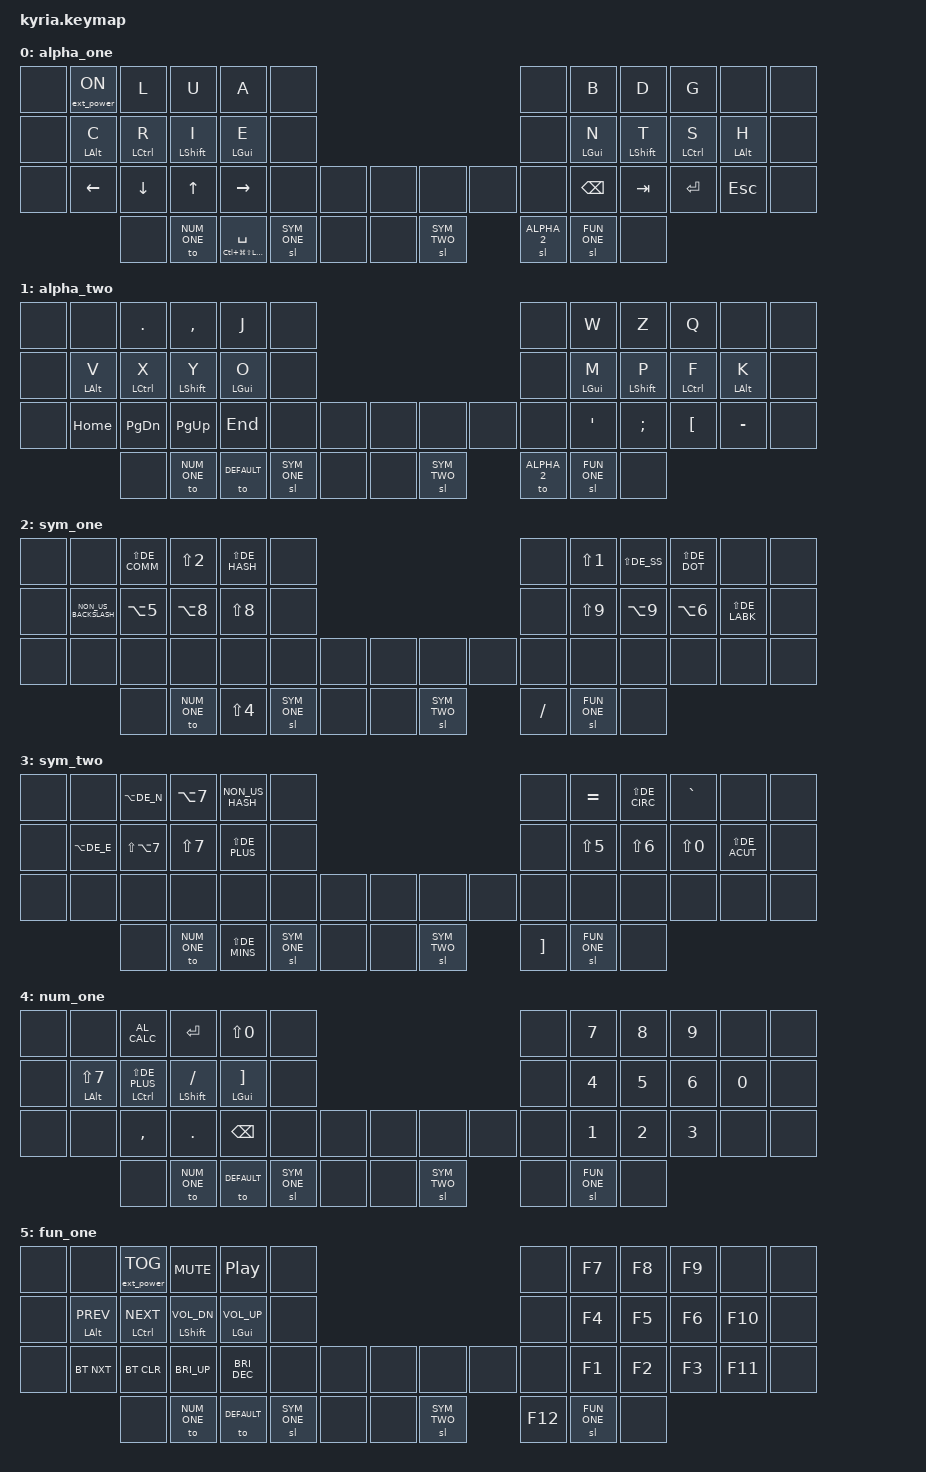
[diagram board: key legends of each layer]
/*
 * Copyright (c) 2020 The ZMK Contributors
 *
 * SPDX-License-Identifier: MIT
 */

#include <behaviors.dtsi>
#include <dt-bindings/zmk/keys.h>
#include <dt-bindings/zmk/bt.h>
#include <dt-bindings/zmk/ext_power.h>

/* GERMAN KEY CODES */
#define DE_CIRC GRAVE // ^ (dead)
#define DE_SS   MINUS // ß
#define DE_ACUT EQUAL // ´ (dead)
#define DE_Q    Q            // Q
#define DE_W    W            // W
#define DE_E    E            // E
#define DE_R    R            // R
#define DE_T    T            // T
#define DE_Z    Y            // Z
#define DE_U    U            // U
#define DE_I    I            // I
#define DE_O    O            // O
#define DE_P    P            // P
#define DE_UDIA LEFT_BRACKET // Ü
#define DE_PLUS RIGHT_BRACKET // +
#define DE_A    A            // A
#define DE_S    S            // S
#define DE_D    D            // D
#define DE_F    F            // F
#define DE_G    G            // G
#define DE_H    H            // H
#define DE_J    J            // J
#define DE_K    K            // K
#define DE_L    L            // L
#define DE_ODIA SEMICOLON    // Ö
#define DE_ADIA SINGLE_QUOTE // Ä
#define DE_HASH NON_US_HASH  // #
#define DE_LABK NON_US_BACKSLASH // <
#define DE_Y    Z                // Y
#define DE_X    X                // X
#define DE_C    C                // C
#define DE_V    V                // V
#define DE_B    B                // B
#define DE_N    N                // N
#define DE_M    M                // M
#define DE_COMM COMMA            // ,
#define DE_DOT  PERIOD           // .
#define DE_MINS SLASH            // -
#define DE_DEG  LS(DE_CIRC) // °
#define DE_EXLM LS(NUMBER_1)    // !
#define DE_DQUO LS(NUMBER_2)    // "
#define DE_SECT LS(NUMBER_3)    // §
#define DE_DLR  LS(NUMBER_4)    // $
#define DE_PERC LS(NUMBER_5)    // %
#define DE_AMPR LS(NUMBER_6)    // &
#define DE_SLSH LS(NUMBER_7)    // /
#define DE_LPRN LS(NUMBER_8)    // (
#define DE_RPRN LS(NUMBER_9)    // )
#define DE_EQL  LS(NUMBER_0)    // =
#define DE_QUES LS(DE_SS)   // ?
#define DE_GRV  LS(DE_ACUT) // ` (dead)
#define DE_ASTR LS(DE_PLUS) // *
#define DE_QUOT LS(DE_HASH) // '
#define DE_RABK LS(DE_LABK) // >
#define DE_SCLN LS(DE_COMM) // ;
#define DE_COLN LS(DE_DOT)  // :
#define DE_UNDS LS(DE_MINS) // _
#define DE_LBRC LA(NUMBER_5)    // [
#define DE_RBRC LA(NUMBER_6)    // ]
#define DE_PIPE LA(NUMBER_7)    // |
#define DE_LCBR LA(NUMBER_8)    // {
#define DE_RCBR LA(NUMBER_9)    // }
#define DE_AT LA(DE_L)    // @
#define DE_EURO LA(DE_E)    // €
#define DE_TILD LA(DE_N)    // ~
#define DE_BSLS LS(LA(NUMBER_7))    // (backslash)

#define DEFAULT 0
#define ALPHA_2 1
#define SYM_ONE 2
#define SYM_TWO 3
#define NUM_ONE 4
#define FUN_ONE 5

#define HOLD_TAP_TIME 175

/ {
    behaviors {

        mtl: mtl {
            compatible = "zmk,behavior-hold-tap";
            label = "Mod Tap Left";
            #binding-cells = <2>;
            tapping-term-ms = <HOLD_TAP_TIME>;
            quick_tap_ms = <0>;
            flavor = "tap-preferred";
            bindings = <&kp>, <&kp>;
            hold-trigger-key-positions = <6 7 8 9 10 11 18 19 20 21 22 23 33 34 35 36 37 38 39 46 47 48 49>;
        };

        mtr: mtr {
            compatible = "zmk,behavior-hold-tap";
            label = "Mod Tap Left";
            #binding-cells = <2>;
            tapping-term-ms = <HOLD_TAP_TIME>;
            quick_tap_ms = <0>;
            flavor = "tap-preferred";
            bindings = <&kp>, <&kp>;
            hold-trigger-key-positions = <0 1 2 3 4 5 12 13 14 15 16 17 24 25 26 27 28 29 30 31 32 40 41 42 43 44 45>;
        };

    };
};

#define _____ &none

#define HYPER LC(LG(LS(LALT)))

/*
            _____ _____ K1  K2    K3          _____                                     _____ K4          K5      K6  _____ _____ 
            _____ K7    K8  K9    K10         _____                                     _____ K11         K12     K13 K14   _____ 
            _____ K15   K16 K17   K18         _____ _____       _____ _____ _____       _____ K19         K20     K21 K22   _____ 
                            _____ &to NUM_ONE K1  &sl SYM_ONE SYM_ONE _____ _____ &sl SYM_TWO SYM_TWO K2   &sl FUN_ONE FUN_ONE _____


            _____ _____ K1  K2    K3  _____                                     _____ K4 K5 K6  _____ _____ 
            _____ K7    K8  K9    K10 _____                                     _____ K11 K12 K13 K14 _____ 
            _____ _____ _____ _____   _____         _____ _____       _____ _____ _____ _____ _____ _____ _____ _____ _____ 
                            _____ &to NUM_ONE &to DEFAULT  &sl SYM_ONE  _____ _____ &sl SYM_TWO  K2   &sl  FUN_ONE _____

*/
/ {

    keymap {
        compatible = "zmk,keymap";

/*
        test {
            bindings = <
            _____ &kp A &kp B &kp C &kp D _____                            _____  &kp E  &kp F &kp G &kp H _____ \
            _____ &kp I &kp J &kp K &kp L _____                            _____  &kp M  &kp N &kp O &kp P _____ \
            _____ &kp Q &kp R &kp S &kp T _____ _____   _____ _____ _____  _____  &kp U  &kp V &kp W &kp X _____ \
                              _____ &kp Y &kp Z  &kp N1 _____ _____ &kp N2 &kp N3 &kp N4 _____
            >;
        };
*/
        alpha_one {
            bindings = <
                _____ &ext_power EP_ON &kp DE_L        &kp DE_U        &kp DE_A        _____                               _____       &kp DE_B       &kp DE_D        &kp DE_G        _____         _____
                _____ &mtl LALT DE_C   &mtl LCTRL DE_R &mtl LSHFT DE_I &mtl LGUI DE_E  _____                               _____       &mtr LGUI DE_N &mtr LSHFT DE_T &mtr LCTRL DE_S &mtr LALT DE_H _____
                _____ &kp LEFT         &kp DOWN        &kp UP          &kp RIGHT       _____       _____ _____ _____ _____ _____       &kp BACKSPACE  &kp TAB         &kp ENTER       &kp ESCAPE    _____
                                       _____           &to NUM_ONE     &mt HYPER SPACE &sl SYM_ONE _____ _____ &sl SYM_TWO &sl ALPHA_2 &sl FUN_ONE    _____
            >;
        };


        alpha_two {
            bindings = <
                _____ _____          &kp DE_DOT      &kp DE_COMM     &kp DE_J       _____                                           _____       &kp DE_W       &kp DE_Y        &kp DE_Q        _____          _____
                _____ &mtl LALT DE_V &mtl LCTRL DE_X &mtl LSHFT DE_Z &mtl LGUI DE_O _____                                           _____       &mtr LGUI DE_M &mtr LSHFT DE_P &mtr LCTRL DE_F &mtr LALT DE_K _____
                _____ &kp HOME       &kp PG_DN       &kp PG_UP       &kp END        _____       _____ _____ _____       _____       _____       &kp DE_ADIA    &kp DE_ODIA     &kp DE_UDIA     &kp DE_SS      _____
                                     _____           &to NUM_ONE     &to DEFAULT    &sl SYM_ONE _____ _____ &sl SYM_TWO &to ALPHA_2 &sl FUN_ONE _____
      
            >;
        };

       sym_one {
            bindings = <
                _____ _____        &kp DE_SCLN &kp DE_DQUO &kp DE_QUOT _____                                           _____       &kp DE_EXLM &kp DE_QUES &kp DE_COLN _____       _____ 
                _____  &kp DE_LABK &kp DE_LBRC &kp DE_LCBR &kp DE_LPRN _____                                           _____       &kp DE_RPRN &kp DE_RCBR &kp DE_RBRC &kp DE_RABK _____ 
                _____ _____        _____       _____       _____       _____       _____ _____ _____       _____       _____       _____       _____       _____       _____       _____ 
                                   _____       &to NUM_ONE &kp DE_DLR  &sl SYM_ONE _____ _____ &sl SYM_TWO &kp DE_MINS &sl FUN_ONE _____
            >;
        };

       sym_two {
            bindings = <
                _____ _____        &kp DE_TILD &kp DE_PIPE &kp DE_HASH _____                                           _____       &kp DE_ACUT &kp DE_DEG  &kp DE_CIRC _____      _____ 
                _____  &kp DE_EURO &kp DE_BSLS &kp DE_SLSH &kp DE_ASTR _____                                           _____       &kp DE_PERC &kp DE_AMPR &kp DE_EQL  &kp DE_GRV _____ 
                _____ _____        _____       _____       _____       _____       _____ _____ _____       _____       _____       _____       _____       _____       _____      _____ 
                                   _____       &to NUM_ONE &kp DE_UNDS &sl SYM_ONE _____ _____ &sl SYM_TWO &kp DE_PLUS &sl FUN_ONE _____
            >;
        };

       num_one {
            bindings = <
                _____ _____             &kp C_AL_CALC     &kp ENTER         &kp DE_EQL       _____                                     _____       &kp N7 &kp N8 &kp N9 _____  _____ 
                _____  &mtl LALT DE_SLSH &mtl LCTRL DE_ASTR &mtl LSHFT DE_MINS &mtl LGUI DE_PLUS _____                                     _____       &kp N4 &kp N5 &kp N6 &kp N0 _____ 
                _____ _____             &kp DE_COMM       &kp DE_DOT        &kp BACKSPACE    _____       _____ _____ _____       _____ _____       &kp N1 &kp N2 &kp N3 _____  _____ 
                                        _____             &to NUM_ONE       &to DEFAULT      &sl SYM_ONE _____ _____ &sl SYM_TWO _____ &sl FUN_ONE _____
            >;
        };

        fun_one {
            bindings = <
                _____ _____           &ext_power EP_TOG  &kp C_MUTE          &kp C_PLAY_PAUSE _____                                       _____       &kp F7 &kp F8 &kp F9 _____   _____ 
                _____ &mtl LALT C_PREV &mtl LCTRL C_NEXT &mtl LSHFT C_VOL_DN &mtl LGUI C_VOL_UP _____                                       _____       &kp F4 &kp F5 &kp F6 &kp F10 _____ 
                _____ &bt BT_NXT       &bt BT_CLR         &kp C_BRI_UP        &kp C_BRI_DEC     _____       _____ _____ _____       _____   _____       &kp F1 &kp F2 &kp F3 &kp F11 _____ 
                                      _____              &to NUM_ONE         &to DEFAULT       &sl SYM_ONE _____ _____ &sl SYM_TWO &kp F12 &sl FUN_ONE _____
            
            >;
        };

    };
};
